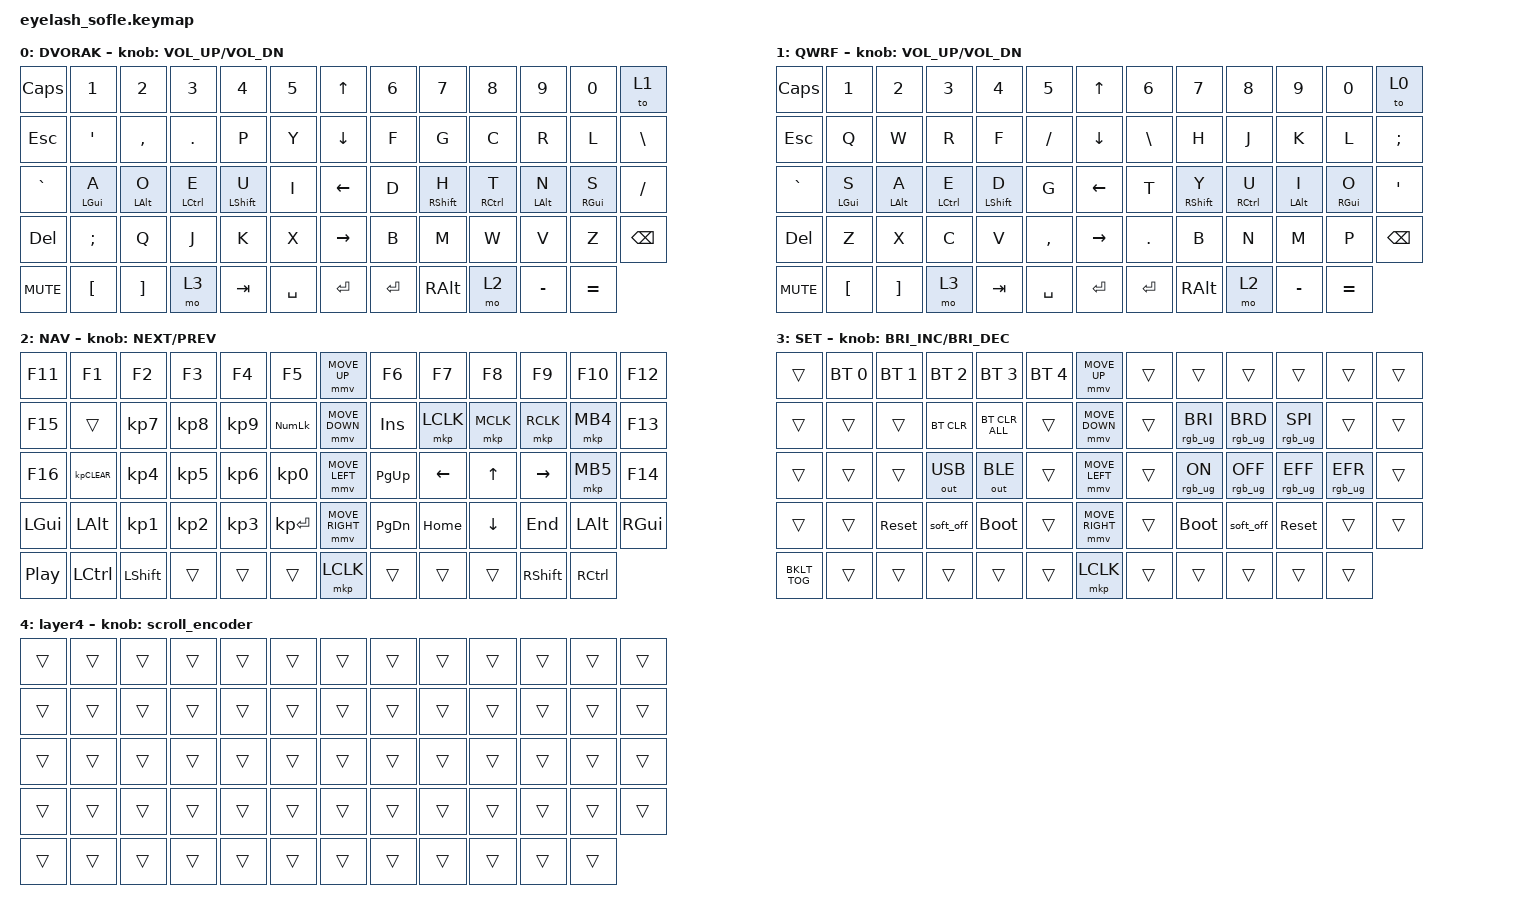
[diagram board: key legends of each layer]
#define ZMK_POINTING_DEFAULT_MOVE_VAL 1200  // 600
#define ZMK_POINTING_DEFAULT_SCRL_VAL 25   // 10

#include <input/processors.dtsi>
#include <zephyr/dt-bindings/input/input-event-codes.h>
#include <behaviors.dtsi>
#include <dt-bindings/zmk/bt.h>
#include <dt-bindings/zmk/keys.h>
#include <dt-bindings/zmk/outputs.h>
#include <dt-bindings/zmk/pointing.h>
#include <dt-bindings/zmk/rgb.h>

&mmv_input_listener { input-processors = <&zip_xy_scaler 2 1>; };

&msc_input_listener { input-processors = <&zip_scroll_scaler 2 1>; };

&msc {
    acceleration-exponent = <1>;      // 0
    time-to-max-speed-ms = <100>;       // 300
    delay-ms = <0>;                   // 0
};

&mmv {
    time-to-max-speed-ms = <500>;
    acceleration-exponent = <1>;
    trigger-period-ms = <16>;
};

&mt {
    tapping-term-ms = <150>;
    flavor = "tap-preferred";
};

&soft_off { hold-time-ms = <2000>; };

/ {
    scroll_encoder: scroll_encoder {
        compatible = "zmk,behavior-sensor-rotate";
        #sensor-binding-cells = <0>;
        bindings = <&msc SCRL_DOWN>, <&msc SCRL_UP>;

        tap-ms = <100>;
    };

    behaviors {
    };

    combos {
        compatible = "zmk,combos";

        softoff {
            bindings = <&soft_off>;
            key-positions = <14 28 40>;
        };
    };

    keymap {
        compatible = "zmk,keymap";

        dvorak {
            bindings = <
&kp CAPS    &kp N1            &kp N2             &kp N3       &kp N4            &kp N5     &kp UP_ARROW     &kp N6         &kp N7             &kp N8       &kp N9          &kp N0           &to 1
&kp ESC     &kp APOS          &kp COMMA          &kp PERIOD   &kp P             &kp Y      &kp DOWN_ARROW   &kp F          &kp G              &kp C        &kp R           &kp L            &kp BACKSLASH
&kp GRAVE   &mt LEFT_GUI A    &mt LEFT_ALT O     &mt LCTRL E  &mt LEFT_SHIFT U  &kp I      &kp LEFT_ARROW   &kp D          &mt RIGHT_SHIFT H  &mt RCTRL T  &mt LEFT_ALT N  &mt RIGHT_GUI S  &kp SLASH
&kp DELETE  &kp SEMI          &kp Q              &kp J        &kp K             &kp X      &kp RIGHT_ARROW  &kp B          &kp M              &kp W        &kp V           &kp Z            &kp BACKSPACE
&kp C_MUTE  &kp LEFT_BRACKET  &kp RIGHT_BRACKET  &mo 3        &kp TAB           &kp SPACE  &kp ENTER        &kp ENTER      &kp RIGHT_ALT      &mo 2        &kp MINUS       &kp EQUAL
            >;

            sensor-bindings = <&inc_dec_kp C_VOLUME_UP C_VOL_DN>;
            display-name = "DVORAK";
        };

        qwrf {
            bindings = <
&kp CAPS    &kp N1            &kp N2             &kp N3       &kp N4            &kp N5     &kp UP_ARROW     &kp N6         &kp N7             &kp N8       &kp N9          &kp N0           &to 0
&kp ESC     &kp Q             &kp W              &kp R        &kp F             &kp SLASH  &kp DOWN_ARROW   &kp BACKSLASH  &kp H              &kp J        &kp K           &kp L            &kp SEMI
&kp GRAVE   &mt LEFT_GUI S    &mt LEFT_ALT A     &mt LCTRL E  &mt LEFT_SHIFT D  &kp G      &kp LEFT_ARROW   &kp T          &mt RIGHT_SHIFT Y  &mt RCTRL U  &mt LEFT_ALT I  &mt RIGHT_GUI O  &kp APOS
&kp DELETE  &kp Z             &kp X              &kp C        &kp V             &kp COMMA  &kp RIGHT_ARROW  &kp PERIOD     &kp B              &kp N        &kp M           &kp P            &kp BACKSPACE
&kp C_MUTE  &kp LEFT_BRACKET  &kp RIGHT_BRACKET  &mo 3        &kp TAB           &kp SPACE  &kp ENTER        &kp ENTER      &kp RIGHT_ALT      &mo 2        &kp MINUS       &kp EQUAL
            >;

            sensor-bindings = <&inc_dec_kp C_VOLUME_UP C_VOL_DN>;
            display-name = "QWRF";
        };

        nav {
            bindings = <
&kp F11       &kp F1        &kp F2          &kp F3     &kp F4     &kp F5        &mmv MOVE_UP     &kp F6         &kp F7          &kp F8          &kp F9           &kp F10       &kp F12
&kp F15       &trans        &kp KP_N7       &kp KP_N8  &kp KP_N9  &kp KP_NUM    &mmv MOVE_DOWN   &kp INSERT     &mkp LCLK       &mkp MCLK       &mkp RCLK        &mkp MB4      &kp F13
&kp F16       &kp KP_CLEAR  &kp KP_N4       &kp KP_N5  &kp KP_N6  &kp KP_N0     &mmv MOVE_LEFT   &kp PAGE_UP    &kp LEFT_ARROW  &kp UP_ARROW    &kp RIGHT_ARROW  &mkp MB5      &kp F14
&kp LEFT_GUI  &kp LEFT_ALT  &kp KP_N1       &kp KP_N2  &kp KP_N3  &kp KP_ENTER  &mmv MOVE_RIGHT  &kp PAGE_DOWN  &kp HOME        &kp DOWN_ARROW  &kp END          &kp LEFT_ALT  &kp RIGHT_GUI
&kp C_PP      &kp LCTRL     &kp LEFT_SHIFT  &trans     &trans     &trans        &mkp LCLK        &trans         &trans          &trans          &kp RIGHT_SHIFT  &kp RCTRL
            >;

            sensor-bindings = <&inc_dec_kp C_NEXT C_PREV>;
            display-name = "NAV";
        };

        set {
            bindings = <
&trans          &bt BT_SEL 0  &bt BT_SEL 1  &bt BT_SEL 2  &bt BT_SEL 3    &bt BT_SEL 4  &mmv MOVE_UP     &trans  &trans           &trans           &trans           &trans           &trans
&trans          &trans        &trans        &bt BT_CLR    &bt BT_CLR_ALL  &trans        &mmv MOVE_DOWN   &trans  &rgb_ug RGB_BRI  &rgb_ug RGB_BRD  &rgb_ug RGB_SPI  &trans           &trans
&trans          &trans        &trans        &out OUT_USB  &out OUT_BLE    &trans        &mmv MOVE_LEFT   &trans  &rgb_ug RGB_ON   &rgb_ug RGB_OFF  &rgb_ug RGB_EFF  &rgb_ug RGB_EFR  &trans
&trans          &trans        &sys_reset    &soft_off     &bootloader     &trans        &mmv MOVE_RIGHT  &trans  &bootloader      &soft_off        &sys_reset       &trans           &trans
&kp C_BKLT_TOG  &trans        &trans        &trans        &trans          &trans        &mkp LCLK        &trans  &trans           &trans           &trans           &trans
            >;

            sensor-bindings = <&inc_dec_kp C_BRI_INC C_BRI_DEC>;
            display-name = "SET";
        };

        layer_4 {
            bindings = <
&trans  &trans  &trans  &trans  &trans  &trans    &trans  &trans  &trans  &trans  &trans  &trans  &trans
&trans  &trans  &trans  &trans  &trans  &trans    &trans  &trans  &trans  &trans  &trans  &trans  &trans
&trans  &trans  &trans  &trans  &trans  &trans    &trans  &trans  &trans  &trans  &trans  &trans  &trans
&trans  &trans  &trans  &trans  &trans  &trans    &trans  &trans  &trans  &trans  &trans  &trans  &trans
&trans  &trans  &trans  &trans  &trans  &trans    &trans  &trans  &trans  &trans  &trans  &trans
            >;

            display-name = "layer4";
            sensor-bindings = <&scroll_encoder>;
        };
    };
};
